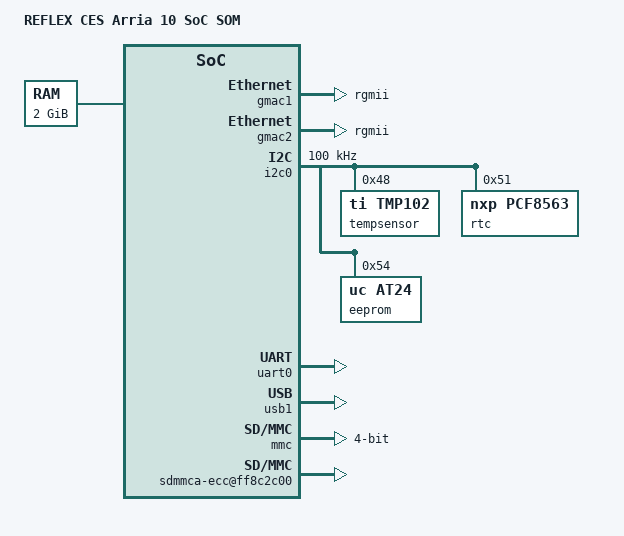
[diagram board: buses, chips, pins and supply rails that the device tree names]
/*
 * Copyright (C) 2018 Rienk de Jong <rienk@rienkdejong.nl>
 *
 * This program is free software; you can redistribute it and/or modify
 * it under the terms of the GNU General Public License as published by
 * the Free Software Foundation; either version 2 of the License, or
 * (at your option) any later version.
 *
 * This program is distributed in the hope that it will be useful,
 * but WITHOUT ANY WARRANTY; without even the implied warranty of
 * MERCHANTABILITY or FITNESS FOR A PARTICULAR PURPOSE.  See the
 * GNU General Public License for more details.
 *
 * You should have received a copy of the GNU General Public License
 * along with this program.  If not, see <http://www.gnu.org/licenses/>.
 */
#include "socfpga_arria10.dtsi"

/ {
	model = "REFLEX CES Arria 10 SoC SOM";
	compatible = "altr,socfpga-arria10", "altr,socfpga";

	aliases {
		ethernet1 = &gmac1;
		ethernet2 = &gmac2;
		serial0 = &uart0;

	
	};

	memory@0 {
		name = "memory";
		device_type = "memory";
		reg = <0x0 0x80000000>; /* 3GB (was 0x4...) */
	};

	soc {
		clkmgr@ffd04000 {
			clocks {
				osc1 {
					clock-frequency = <25000000>;	/* 25,00 MHz */
				};
				f2s_free_clk {
					clock-frequency = <200000000>;	/* 200,00 MHz */
				};
				cb_intosc_hs_div2_clk {
					clock-frequency = <0>;	/* 0,00 Hz */
				};
				cb_intosc_ls_clk {
					clock-frequency = <60000000>;	/* 60,00 MHz */
				};
			};
		};
	};
};


&gmac1 {
	status = "okay";
	address-bits = <48>;
	max-frame-size = <3800>;
	local-mac-address = [00 00 00 00 00 00];
	phy-mode = "rgmii";	
	phy-addr = <0xffffffff>;	
	txd0-skew-ps = <0>;
	txd1-skew-ps = <0>;
	txd2-skew-ps = <0>;
	txd3-skew-ps = <0>;
	rxd0-skew-ps = <420>;
	rxd1-skew-ps = <420>;
	rxd2-skew-ps = <420>;
	rxd3-skew-ps = <420>;
	txen-skew-ps = <0>;
	txc-skew-ps = <1860>;
	rxdv-skew-ps = <420>;
	rxc-skew-ps = <1680>;
};


&gmac2 {
	status = "okay";
	address-bits = <48>;
	max-frame-size = <3800>;
	local-mac-address = [00 00 00 00 00 00];
	phy-mode = "rgmii";	
	phy-addr = <0xffffffff>;	
	txd0-skew-ps = <0>;
	txd1-skew-ps = <0>;
	txd2-skew-ps = <0>;
	txd3-skew-ps = <0>;
	rxd0-skew-ps = <420>;
	rxd1-skew-ps = <420>;
	rxd2-skew-ps = <420>;
	rxd3-skew-ps = <420>;
	txen-skew-ps = <0>;
	txc-skew-ps = <1860>;
	rxdv-skew-ps = <420>;
	rxc-skew-ps = <1680>;
};


&i2c0 {
	status = "okay";
	speed-mode = <0>;
	clock-frequency = <100000>;	
	i2c-sda-falling-time-ns = <6000>;
	i2c-scl-falling-time-ns = <6000>;	

	tempsensor: ti,tmp102@48 {
		compatible = "ti,tmp102";
		reg = <0x00000048>;
	};

	rtc: nxp,pcf8563@51 {
		compatible = "nxp,pcf8563";
		reg = <0x00000051>;
	};

	eeprom: uc,at24@54 {
		compatible = "uc,at24";
		reg = <0x00000054>;
		bytelen = <256>;
		pagesize = <16>;
	};
};

&uart0 {
	status = "okay";
};

&usb1 {
	status = "okay";
	dev-nperio-tx-fifo-size = <4096>;
	dev-perio-tx-fifo-size = "<512 512 512 512 512 512 512 512 512 512 512 512 512 512 512>";
	dev-rx-fifo-size = <512>;	
	dev-tx-fifo-size = "<512 512 512 512 512 512 512 512 512 512 512 512 512 512 512>";
	dma-mask = <268435455>;	
	enable-dynamic-fifo = <1>;
	host-nperio-tx-fifo-size = <2560>;
	host-perio-tx-fifo-size = <2560>;
	host-rx-fifo-size = <2560>;
	ulpi-ddr = <0>;
	voltage-switch = <0>;
};


&mmc {
	status = "okay";
	num-slots = <1>;
	cap-sd-highspeed;
	broken-cd;
	bus-width = <4>;
};

&eccmgr {
	sdmmca-ecc@ff8c2c00 {
		compatible = "altr,socfpga-sdmmc-ecc";
		reg = <0xff8c2c00 0x400>;
		altr,ecc-parent = <&mmc>;
		interrupts = <15 IRQ_TYPE_LEVEL_HIGH>,
			     <47 IRQ_TYPE_LEVEL_HIGH>,
			     <16 IRQ_TYPE_LEVEL_HIGH>,
			     <48 IRQ_TYPE_LEVEL_HIGH>;
	};
};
